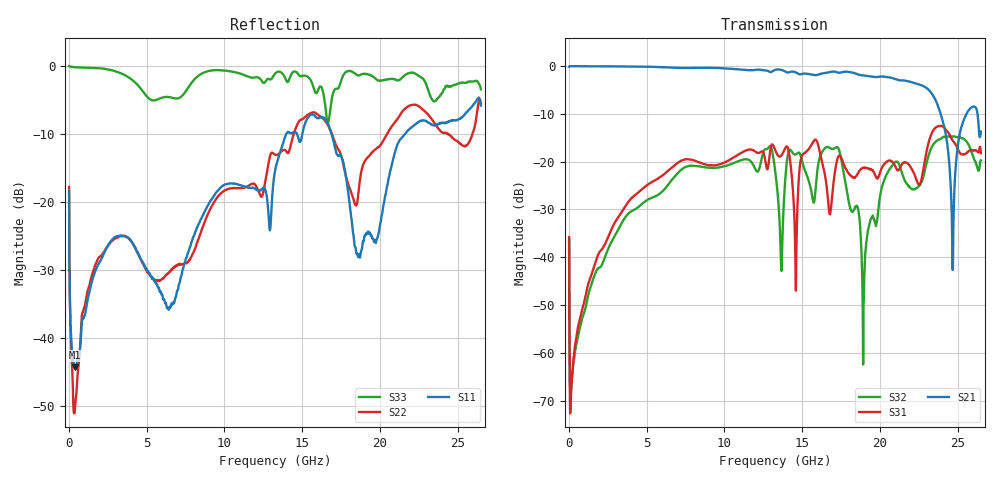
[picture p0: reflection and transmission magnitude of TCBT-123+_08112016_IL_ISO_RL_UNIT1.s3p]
!Mini-Circuits Lab.
!S-parameters
!MODEL: TCBT-123+;
!S/N: Unit 1
!Run: MHU0690; Date Code:1624;
!Created: 08-11-2016 at 12:22:48
!Connection: Port 1 to RF & DC (pin 1), Port 2 to RF( pin 2), Port 3 to DC (pin 3), pin 4- not used;
!Tested with PNA-x Network Analyzer N5242, S/N 74302, Cal.Due: 03/23/17; TEST BOARD -TB-879+ ;
# MHZ S DB R 50
!Frequency  S11 dB  S11 DEG  S12 dB  S12 DEG  S13 dB  S13 DEG
!  S21 dB  S21 DEG  S22 dB  S22 DEG  S23 dB  S23 DEG
!  S31 dB  S31 DEG  S32 dB  S32 DEG  S33 dB  S33 DEG
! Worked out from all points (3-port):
!   1066 points, 10 MHz to 26.5 GHz, reference 50 ohm
!   strongest paths, dB at 10 MHz, 6.525 GHz, 13.2 GHz, 19.85 GHz, 26.5 GHz:
!     S21: -0.2, -0.4, -1.0, -2.3, -13.8
!     S31: -35.8, -21.5, -17.1, -23.5, -18.3
!     S32: -36.2, -24.2, -20.3, -31.8, -19.7
!   lowest |S11| = -44.3 dB at 400 MHz (marker M1), VSWR 1.01, Z = 50.6 + j0.0111 ohm
!   |S11| at or under -10 dB: start of sweep to 13.98 GHz; 14.67 GHz to 15.01 GHz (343.9 MHz wide, 2.32 % of centre); 16.89 GHz to 21.62 GHz (4.731 GHz wide, 24.6 % of centre)
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10  -18.36 76.4  -0.20 22.2  -35.93 -169.9
    -0.20 22.2  -17.80 156.5  -36.11 -149.9
    -35.78 -169.0  -36.16 -149.4  -0.05 -178.2
90  -37.15 73.4  -0.10 2.0  -71.65 118.3
    -0.09 2.0  -37.62 102.1  -69.09 -110.5
    -72.11 121.9  -69.30 -106.9  -0.11 -179.4
400  -44.29 1.0  -0.09 -1.1  -58.33 97.5
     -0.09 -1.1  -49.94 -7.8  -59.69 -99.3
     -58.27 98.0  -59.50 -99.0  -0.21 -176.6
9750  -17.90 88.6  -0.50 -35.8  -20.52 54.1
      -0.49 -35.7  -18.78 43.6  -21.17 64.6
      -20.54 54.1  -21.19 64.6  -0.64 -4.1
13275  -15.20 30.5  -0.87 -50.8  -17.59 8.7
       -0.86 -50.8  -13.05 49.1  -22.36 -20.5
       -17.66 9.7  -22.18 -20.2  -1.12 130.8
16175  -7.60 16.5  -1.69 -64.1  -18.67 -60.3
       -1.69 -64.1  -7.44 28.0  -18.68 67.3
       -18.54 -59.5  -18.76 67.6  -3.04 -96.7
18950  -25.84 139.0  -2.03 -89.1  -21.30 -157.7
       -2.03 -89.0  -14.41 109.5  -54.15 154.0
       -21.25 -157.6  -49.99 154.3  -1.18 69.4
23400  -8.71 -45.9  -6.08 -153.3  -13.67 -108.6
       -6.09 -153.2  -8.03 -20.9  -16.61 -118.3
       -13.69 -108.4  -16.62 -118.6  -5.10 17.7
24675  -8.01 -94.0  -42.69 -162.6  -15.47 177.2
       -42.60 -162.1  -10.61 -87.9  -14.82 173.3
       -15.54 177.2  -14.84 173.0  -2.91 -44.7
26500  -5.84 59.7  -13.77 -100.7  -18.27 124.0
       -13.76 -100.6  -5.56 -9.0  -19.72 88.4
       -18.27 123.8  -19.75 88.4  -3.45 -12.7
